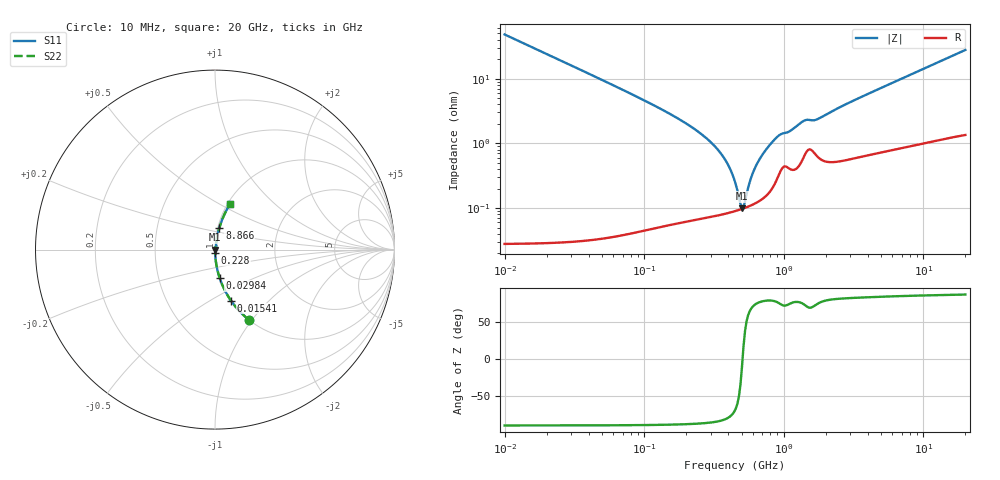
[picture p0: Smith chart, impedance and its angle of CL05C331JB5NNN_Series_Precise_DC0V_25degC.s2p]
! CL05C331JB5NNN Multilayer Ceramic Capacitor Sparameter Model
! Model Generated by Samsung Electro-Mechanics
! Samsung Sparameter Version 5.0
! Date : Jun-19-2026
! Products : Multilayer Ceramic Capacitor(General)
! Characteristics :
!  Nominal Capacitance = 330pF
!  Capacitance Tolerance = ¡¾5%
!  TCC = C0G(-55 ~ +125 degC.)
!  Rated Voltage = 50Vdc
!  Size = 0402(unit:inch), 1005(unit:mm)
!  Length = 1.00¡¾0.05mm
!  Width = 0.50¡¾0.05mm
!  Thickness = 0.50¡¾0.05mm
!  Reliability level = Standard
!  Lineup = Lineup Normal
!  Feature = Features Normal
!  Measurement Temperature : 25degC.
!  DC bias Value = 0V
!  Frequency : 10MHz ~ 20GHz
! External Node Assignments :
!  1  o---||---o  2
# MHz S RI R 50.0
! Freq.  Real(S11)  Im(S11)  Real(S12)  Im(S12)  Real(S21)  Im(S21)  Real(S22)  Im(S22)
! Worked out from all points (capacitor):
!   300 points, 10 MHz to 20 GHz, reference 50 ohm
!   read as one part in series: C = 330 pF near 10.26 MHz
!   lowest |Z| = 98.8 mohm at 501.4 MHz (marker M1)
!   series resonance near 506.6 MHz, so ESL is about 300 pH
!   S11 on the Smith chart (normalised r, x): 10 MHz: 1.00, -0.96; 15.41 MHz: 1.00, -0.63; 29.84 MHz: 1.00, -0.32; 228 MHz: 1.00, -0.03; 8.866 GHz: 1.02, +0.25; 20 GHz: 1.03, +0.56
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10  0.1887 -0.391  0.8113 0.391  0.8113 0.391  0.1887 -0.391
15.40579  0.0893 -0.2847  0.9107 0.2847  0.9107 0.2847  0.0893 -0.2847
29.83528  0.0255 -0.1568  0.9745 0.1568  0.9745 0.1568  0.0255 -0.1568
35.64607  0.0181 -0.1321  0.9819 0.1321  0.9819 0.1321  0.0181 -0.1321
127.0643  0.00175 -0.0353  0.9982 0.0353  0.9982 0.0353  0.00175 -0.0353
228.0073  0.000929 -0.0168  0.9991 0.0168  0.9991 0.0168  0.000929 -0.0168
294.0026  0.000838 -0.0108  0.9992 0.0108  0.9992 0.0108  0.000838 -0.0108
351.2633  0.000832 -0.0071  0.9992 0.0071  0.9992 0.0071  0.000832 -0.0071
409.1421  0.000864 -0.00409  0.9991 0.00409  0.9991 0.00409  0.000864 -0.00409
452.9342  0.000906 -0.00214  0.9991 0.00214  0.9991 0.00214  0.000906 -0.00214
501.4135  0.000968 -0.000196  0.999 0.000196  0.999 0.000196  0.000968 -0.000196
514.3234  0.000986 0.00029  0.999 -0.00029  0.999 -0.00029  0.000986 0.00029
569.3735  0.00108 0.00225  0.9989 -0.00225  0.9989 -0.00225  0.00108 0.00225
614.4944  0.00117 0.00375  0.9988 -0.00375  0.9988 -0.00375  0.00117 0.00375
772.4672  0.00173 0.00862  0.9983 -0.00862  0.9983 -0.00862  0.00173 0.00862
946.6772  0.00386 0.0131  0.9961 -0.0131  0.9961 -0.0131  0.00386 0.0131
1102.664  0.00424 0.0147  0.9958 -0.0147  0.9958 -0.0147  0.00424 0.0147
1421.823  0.00719 0.0215  0.9928 -0.0215  0.9928 -0.0215  0.00719 0.0215
1614.533  0.00791 0.0211  0.9921 -0.0211  0.9921 -0.0211  0.00791 0.0211
5755.175  0.0142 0.0807  0.9858 -0.0807  0.9858 -0.0807  0.0142 0.0807
8866.302  0.0244 0.1215  0.9756 -0.1215  0.9756 -0.1215  0.0244 0.1215
20000  0.0821 0.2514  0.9179 -0.2514  0.9179 -0.2514  0.0821 0.2514
